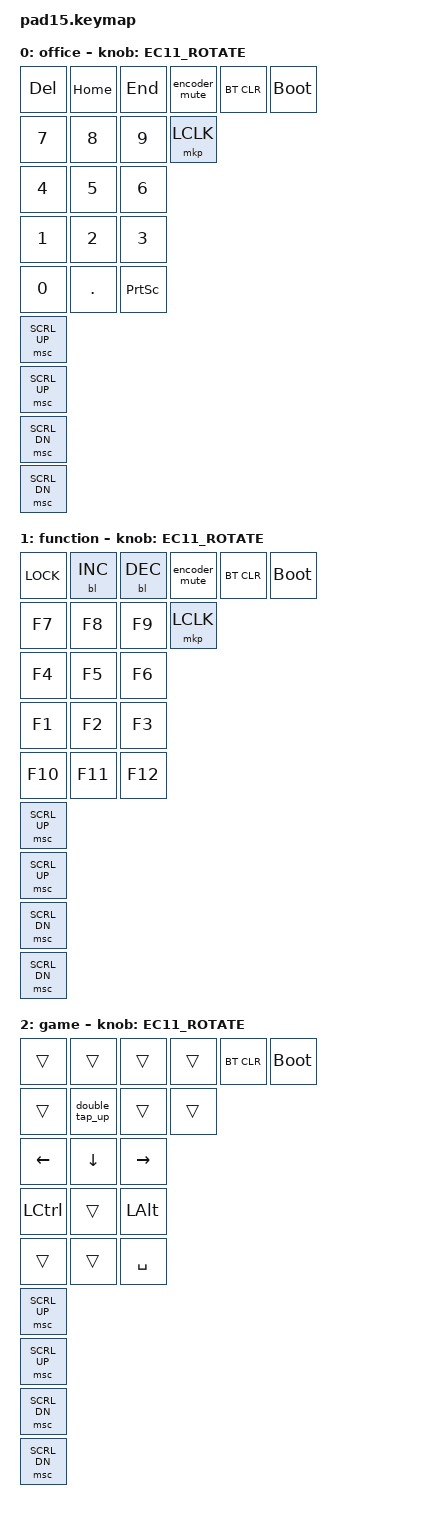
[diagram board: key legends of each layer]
/* 第一部分：引入必要的字典 */
#include <behaviors.dtsi>          // 核心行为
#include <dt-bindings/zmk/keys.h>  // 键盘按键字典 (如 A, B, RET)
#include <dt-bindings/zmk/bt.h>    // 蓝牙控制字典
#include <dt-bindings/zmk/ext_power.h> // 电源控制
#include <dt-bindings/zmk/mouse.h> // 鼠标控制字典
#include <dt-bindings/zmk/rgb.h>        // RGB 灯效控制
#include <dt-bindings/zmk/outputs.h>    // 输出切换 (USB/BLE)
#include <dt-bindings/zmk/pointing.h>   /* 鼠标滚轮模拟*/

/* 第二部分：定义你的层级名称（方便阅读，不是必须的，但极度推荐） */
#define DEFAULT 0   // 办公模式
#define GAME    1   // 游戏模式
#define GLOBAL  2   // 你的全局设置层 (音量/灯光)

/ {
    combos {
        compatible = "zmk,combos";

        change_layer {
            bindings = <&to 0>;
            key-positions = <14 16>;
            layers = <2>;
        };

        change_layer1 {
            bindings = <&to 1>;
            key-positions = <14 16>;
            layers = <0>;
        };

        change_layer2 {
            bindings = <&to 2>;
            key-positions = <14 16>;
            layers = <1>;
        };
    };

    behaviors {
        EC11_ROTATE: EC11_ROTATE {
            compatible = "zmk,behavior-sensor-rotate";
            label = "EC11_ROTATE";
            #sensor-binding-cells = <0>;
            bindings = <&kp C_VOLUME_UP>, <&kp C_VOL_DN>;
        };

        double_tap_up: double_tap_up {
            compatible = "zmk,behavior-tap-dance";
            label = "DOUBLE_TAP_UP";
            #binding-cells = <0>;
            bindings = <&kp UP>, <&kp LS(UP)>;
        };

        encoder_mute: encoder_mute {
            compatible = "zmk,behavior-hold-tap";
            label = "ENCODER_MUTE";
            #binding-cells = <0>;
            tap-time = <200>;
            bindings = <&kp C_MUTE>, <&trans>;
        };
    };

    keymap {
        compatible = "zmk,keymap";

        office {
            sensor-bindings = <&EC11_ROTATE>;
            bindings = <
                &kp DEL       &kp HOME      &kp END          &encoder_mute        &bt BT_CLR &bootloader
                &kp NUMBER_7  &kp NUMBER_8  &kp NUMBER_9     &mkp LCLK
                &kp NUMBER_4  &kp NUMBER_5  &kp NUMBER_6
                &kp NUMBER_1  &kp NUMBER_2  &kp NUMBER_3
                &kp NUMBER_0  &kp DOT       &kp PRINTSCREEN

                /* 4 个触摸板改为持续滚动（垂直方向优先） */
                &msc SCRL_UP      /* P0.17 - 上方区域 */
                &msc SCRL_UP      /* P0.20 */
                &msc SCRL_DN      /* P0.22 */
                &msc SCRL_DN      /* P0.24 - 下方区域 */
            >;
        };

        function {
            sensor-bindings = <&EC11_ROTATE>;
            bindings = <
                &kp K_LOCK  &bl BL_INC  &bl BL_DEC  &encoder_mute        &bt BT_CLR &bootloader
                &kp F7      &kp F8      &kp F9      &mkp LCLK
                &kp F4      &kp F5      &kp F6
                &kp F1      &kp F2      &kp F3
                &kp F10     &kp F11     &kp F12

                &msc SCRL_UP
                &msc SCRL_UP
                &msc SCRL_DN
                &msc SCRL_DN
            >;
        };

        game {
            sensor-bindings = <&EC11_ROTATE>;
            bindings = <
                &trans     &trans          &trans     &trans        &bt BT_CLR &bootloader
                &trans     &double_tap_up  &trans     &trans
                &kp LEFT   &kp DOWN        &kp RIGHT
                &kp LCTRL  &trans          &kp LALT
                &trans     &trans          &kp SPACE

                &msc SCRL_UP
                &msc SCRL_UP
                &msc SCRL_DN
                &msc SCRL_DN
            >;
        };
    };
};
